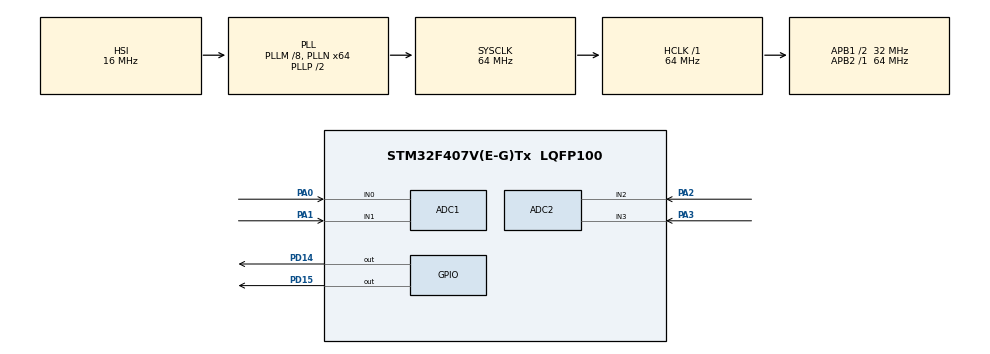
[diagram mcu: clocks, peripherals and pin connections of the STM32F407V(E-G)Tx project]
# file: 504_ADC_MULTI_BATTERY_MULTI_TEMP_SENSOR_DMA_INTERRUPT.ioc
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ADC1.Channel-0\#ChannelRegularConversion=ADC_CHANNEL_0
ADC1.Channel-1\#ChannelRegularConversion=ADC_CHANNEL_1
ADC1.Channel-2\#ChannelRegularConversion=ADC_CHANNEL_VREFINT
ADC1.ContinuousConvMode=ENABLE
ADC1.DMAContinuousRequests=ENABLE
ADC1.NbrOfConversion=3
ADC1.NbrOfConversionFlag=1
ADC1.Rank-0\#ChannelRegularConversion=1
ADC1.Rank-1\#ChannelRegularConversion=2
ADC1.Rank-2\#ChannelRegularConversion=3
ADC1.SamplingTime-0\#ChannelRegularConversion=ADC_SAMPLETIME_56CYCLES
ADC1.SamplingTime-1\#ChannelRegularConversion=ADC_SAMPLETIME_144CYCLES
ADC1.SamplingTime-2\#ChannelRegularConversion=ADC_SAMPLETIME_480CYCLES
ADC1.ScanConvMode=ENABLE
ADC1.master=1
ADC2.Channel-0\#ChannelRegularConversion=ADC_CHANNEL_2
ADC2.Channel-1\#ChannelRegularConversion=ADC_CHANNEL_3
ADC2.ContinuousConvMode=ENABLE
ADC2.DMAContinuousRequests=ENABLE
ADC2.NbrOfConversion=2
ADC2.NbrOfConversionFlag=1
ADC2.Rank-0\#ChannelRegularConversion=1
ADC2.Rank-1\#ChannelRegularConversion=2
ADC2.SamplingTime-0\#ChannelRegularConversion=ADC_SAMPLETIME_112CYCLES
ADC2.SamplingTime-1\#ChannelRegularConversion=ADC_SAMPLETIME_112CYCLES
ADC2.ScanConvMode=ENABLE
Dma.ADC1.0.Direction=DMA_PERIPH_TO_MEMORY
Dma.ADC1.0.FIFOMode=DMA_FIFOMODE_DISABLE
Dma.ADC1.0.Instance=DMA2_Stream0
Dma.ADC1.0.MemDataAlignment=DMA_MDATAALIGN_HALFWORD
Dma.ADC1.0.MemInc=DMA_MINC_ENABLE
Dma.ADC1.0.Mode=DMA_CIRCULAR
Dma.ADC1.0.PeriphDataAlignment=DMA_PDATAALIGN_HALFWORD
Dma.ADC1.0.PeriphInc=DMA_PINC_DISABLE
Dma.ADC1.0.Priority=DMA_PRIORITY_LOW
Dma.ADC2.1.Direction=DMA_PERIPH_TO_MEMORY
Dma.ADC2.1.FIFOMode=DMA_FIFOMODE_DISABLE
Dma.ADC2.1.Instance=DMA2_Stream2
Dma.ADC2.1.MemDataAlignment=DMA_MDATAALIGN_HALFWORD
Dma.ADC2.1.MemInc=DMA_MINC_ENABLE
Dma.ADC2.1.Mode=DMA_CIRCULAR
Dma.ADC2.1.PeriphDataAlignment=DMA_PDATAALIGN_HALFWORD
Dma.ADC2.1.PeriphInc=DMA_PINC_DISABLE
Dma.ADC2.1.Priority=DMA_PRIORITY_LOW
Dma.Request0=ADC1
Dma.Request1=ADC2
Mcu.Family=STM32F4
Mcu.Name=STM32F407V(E-G)Tx
Mcu.Package=LQFP100
NVIC.ADC_IRQn=true\:0\:0\:false\:false\:true\:true\:true\:true
NVIC.DMA2_Stream0_IRQn=true\:0\:0\:false\:false\:true\:false\:true\:true
NVIC.DMA2_Stream2_IRQn=true\:0\:0\:false\:false\:true\:false\:true\:true
NVIC.PriorityGroup=NVIC_PRIORITYGROUP_4
PA0-WKUP.Signal=ADCx_IN0
PA1.Signal=ADCx_IN1
PA2.Signal=ADCx_IN2
PA3.Signal=ADCx_IN3
PD14.Signal=GPIO_Output
PD15.Signal=GPIO_Output
ProjectManager.HeapSize=0x200
ProjectManager.StackSize=0x400
ProjectManager.TargetToolchain=STM32CubeIDE
RCC.48MHZClocksFreq_Value=32000000
RCC.AHBFreq_Value=64000000
RCC.APB1CLKDivider=RCC_HCLK_DIV2
RCC.APB1Freq_Value=32000000
RCC.APB1TimFreq_Value=64000000
RCC.APB2Freq_Value=64000000
RCC.APB2TimFreq_Value=64000000
RCC.CortexFreq_Value=64000000
RCC.HCLKFreq_Value=64000000
RCC.HSE_VALUE=25000000
RCC.HSI_VALUE=16000000
RCC.LSE_VALUE=32768
RCC.PLLM=8
RCC.PLLN=64
RCC.SYSCLKFreq_VALUE=64000000
RCC.SYSCLKSource=RCC_SYSCLKSOURCE_PLLCLK
RCC.VCOOutputFreq_Value=128000000
SH.ADCx_IN0.0=ADC1_IN0,IN0
SH.ADCx_IN1.0=ADC1_IN1,IN1
SH.ADCx_IN2.0=ADC2_IN2,IN2
SH.ADCx_IN3.0=ADC2_IN3,IN3
VP_ADC1_Vref_Input.Mode=IN-Vrefint
board=custom

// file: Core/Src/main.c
/* USER CODE BEGIN Header */
/**
  ******************************************************************************
  * @file           : main.c
  * @brief          : Main program body
  ******************************************************************************
  * @attention
  *
  * Copyright (c) 2024 STMicroelectronics.
  * All rights reserved.
  *
  * This software is licensed under terms that can be found in the LICENSE file
  * in the root directory of this software component.
  * If no LICENSE file comes with this software, it is provided AS-IS.
  *
  ******************************************************************************
  */
/* USER CODE END Header */
#include "main.h"

ADC_HandleTypeDef hadc1;
ADC_HandleTypeDef hadc2;
DMA_HandleTypeDef hdma_adc1;
DMA_HandleTypeDef hdma_adc2;

/* USER CODE BEGIN PV */
#define VREFIN_CAL ((uint16_t*)((uint32_t)0x1FFF7A2A))

uint16_t adc1_value [3];
uint16_t adc2_value [2];

float Vdda = 0, Vadc1_Temp1= 0, Vadc1_Temp2= 0, Vadc2_Bat1= 0, Vadc2_Bat2= 0;

int count= 0, count1= 0;
/* USER CODE END PV */

void SystemClock_Config(void);
static void MX_GPIO_Init(void);
static void MX_DMA_Init(void);
static void MX_ADC1_Init(void);
static void MX_ADC2_Init(void);

/* USER CODE BEGIN 0 */
void HAL_ADC_ConvCpltCallback(ADC_HandleTypeDef *hadc)
{
	if(__HAL_ADC_GET_FLAG(&hadc1, ADC_FLAG_EOC) != RESET )
		{
			adc1_value[count] = HAL_ADC_GetValue(&hadc1);
	        count++;
	        if(count == 3)
	        {
	        count = 0;
	        }

	        Vdda = (float) 3.3 * (*VREFIN_CAL)/adc1_value[2];

	        Vadc1_Temp1 = 330.0*adc1_value[0]/4095;
	        Vadc1_Temp2 = 330.0*adc1_value[1]/4095;

		}

	if(__HAL_ADC_GET_FLAG(&hadc2, ADC_FLAG_EOC) != RESET )
			{
				adc2_value[count1] = HAL_ADC_GetValue(&hadc2);
		        count1++;

		        if(count1 == 2)
		        {
		        	count1 = 0;
		        }
		        Vadc2_Bat1 = Vdda*adc2_value[0]/4095;
		        Vadc2_Bat2 = Vdda*adc2_value[1]/4095;

			}

}

/* USER CODE END 0 */

int main(void)
{

  /* MCU Configuration--------------------------------------------------------*/

  /* Reset of all peripherals, Initializes the Flash interface and the Systick. */
  HAL_Init();

  /* Configure the system clock */
  SystemClock_Config();

  /* Initialize all configured peripherals */
  MX_GPIO_Init();
  MX_DMA_Init();
  MX_ADC1_Init();
  MX_ADC2_Init();
  /* USER CODE BEGIN 2 */
  HAL_ADC_Start_DMA(&hadc1, (uint32_t *)adc1_value, 3);
  HAL_ADC_Start_DMA(&hadc2, (uint32_t *)adc2_value, 2);

  /* USER CODE END 2 */

  /* Infinite loop */
  while (1)
  {

    /* USER CODE BEGIN 3 */
	  if(Vadc1_Temp1>30)
	 			  {
	 				  HAL_GPIO_WritePin(GPIOD, GPIO_PIN_14, GPIO_PIN_SET);
	 			  }
	  else if(Vadc1_Temp1<30)
	  {
	  	 				  HAL_GPIO_WritePin(GPIOD, GPIO_PIN_14, GPIO_PIN_RESET);
	  	 			  }
  }
  /* USER CODE END 3 */
}

void SystemClock_Config(void)
{
  RCC_OscInitTypeDef RCC_OscInitStruct = {0};
  RCC_ClkInitTypeDef RCC_ClkInitStruct = {0};

  /** Configure the main internal regulator output voltage
  */
  __HAL_RCC_PWR_CLK_ENABLE();
  __HAL_PWR_VOLTAGESCALING_CONFIG(PWR_REGULATOR_VOLTAGE_SCALE1);

  /** Initializes the RCC Oscillators according to the specified parameters
  * in the RCC_OscInitTypeDef structure.
  */
  RCC_OscInitStruct.OscillatorType = RCC_OSCILLATORTYPE_HSI;
  RCC_OscInitStruct.HSIState = RCC_HSI_ON;
  RCC_OscInitStruct.HSICalibrationValue = RCC_HSICALIBRATION_DEFAULT;
  RCC_OscInitStruct.PLL.PLLState = RCC_PLL_ON;
  RCC_OscInitStruct.PLL.PLLSource = RCC_PLLSOURCE_HSI;
  RCC_OscInitStruct.PLL.PLLM = 8;
  RCC_OscInitStruct.PLL.PLLN = 64;
  RCC_OscInitStruct.PLL.PLLP = RCC_PLLP_DIV2;
  RCC_OscInitStruct.PLL.PLLQ = 4;
  if (HAL_RCC_OscConfig(&RCC_OscInitStruct) != HAL_OK)
  {
    Error_Handler();
  }

  /** Initializes the CPU, AHB and APB buses clocks
  */
  RCC_ClkInitStruct.ClockType = RCC_CLOCKTYPE_HCLK|RCC_CLOCKTYPE_SYSCLK
                              |RCC_CLOCKTYPE_PCLK1|RCC_CLOCKTYPE_PCLK2;
  RCC_ClkInitStruct.SYSCLKSource = RCC_SYSCLKSOURCE_PLLCLK;
  RCC_ClkInitStruct.AHBCLKDivider = RCC_SYSCLK_DIV1;
  RCC_ClkInitStruct.APB1CLKDivider = RCC_HCLK_DIV2;
  RCC_ClkInitStruct.APB2CLKDivider = RCC_HCLK_DIV1;

  if (HAL_RCC_ClockConfig(&RCC_ClkInitStruct, FLASH_LATENCY_2) != HAL_OK)
  {
    Error_Handler();
  }
}

static void MX_ADC1_Init(void)
{

  ADC_ChannelConfTypeDef sConfig = {0};

  /** Configure the global features of the ADC (Clock, Resolution, Data Alignment and number of conversion)
  */
  hadc1.Instance = ADC1;
  hadc1.Init.ClockPrescaler = ADC_CLOCK_SYNC_PCLK_DIV2;
  hadc1.Init.Resolution = ADC_RESOLUTION_12B;
  hadc1.Init.ScanConvMode = ENABLE;
  hadc1.Init.ContinuousConvMode = ENABLE;
  hadc1.Init.DiscontinuousConvMode = DISABLE;
  hadc1.Init.ExternalTrigConvEdge = ADC_EXTERNALTRIGCONVEDGE_NONE;
  hadc1.Init.ExternalTrigConv = ADC_SOFTWARE_START;
  hadc1.Init.DataAlign = ADC_DATAALIGN_RIGHT;
  hadc1.Init.NbrOfConversion = 3;
  hadc1.Init.DMAContinuousRequests = ENABLE;
  hadc1.Init.EOCSelection = ADC_EOC_SINGLE_CONV;
  if (HAL_ADC_Init(&hadc1) != HAL_OK)
  {
    Error_Handler();
  }

  /** Configure for the selected ADC regular channel its corresponding rank in the sequencer and its sample time.
  */
  sConfig.Channel = ADC_CHANNEL_0;
  sConfig.Rank = 1;
  sConfig.SamplingTime = ADC_SAMPLETIME_56CYCLES;
  if (HAL_ADC_ConfigChannel(&hadc1, &sConfig) != HAL_OK)
  {
    Error_Handler();
  }

  /** Configure for the selected ADC regular channel its corresponding rank in the sequencer and its sample time.
  */
  sConfig.Channel = ADC_CHANNEL_1;
  sConfig.Rank = 2;
  sConfig.SamplingTime = ADC_SAMPLETIME_144CYCLES;
  if (HAL_ADC_ConfigChannel(&hadc1, &sConfig) != HAL_OK)
  {
    Error_Handler();
  }

  /** Configure for the selected ADC regular channel its corresponding rank in the sequencer and its sample time.
  */
  sConfig.Channel = ADC_CHANNEL_VREFINT;
  sConfig.Rank = 3;
  sConfig.SamplingTime = ADC_SAMPLETIME_480CYCLES;
  if (HAL_ADC_ConfigChannel(&hadc1, &sConfig) != HAL_OK)
  {
    Error_Handler();
  }

}

static void MX_ADC2_Init(void)
{

  ADC_ChannelConfTypeDef sConfig = {0};

  /** Configure the global features of the ADC (Clock, Resolution, Data Alignment and number of conversion)
  */
  hadc2.Instance = ADC2;
  hadc2.Init.ClockPrescaler = ADC_CLOCK_SYNC_PCLK_DIV2;
  hadc2.Init.Resolution = ADC_RESOLUTION_12B;
  hadc2.Init.ScanConvMode = ENABLE;
  hadc2.Init.ContinuousConvMode = ENABLE;
  hadc2.Init.DiscontinuousConvMode = DISABLE;
  hadc2.Init.ExternalTrigConvEdge = ADC_EXTERNALTRIGCONVEDGE_NONE;
  hadc2.Init.ExternalTrigConv = ADC_SOFTWARE_START;
  hadc2.Init.DataAlign = ADC_DATAALIGN_RIGHT;
  hadc2.Init.NbrOfConversion = 2;
  hadc2.Init.DMAContinuousRequests = ENABLE;
  hadc2.Init.EOCSelection = ADC_EOC_SINGLE_CONV;
  if (HAL_ADC_Init(&hadc2) != HAL_OK)
  {
    Error_Handler();
  }

  /** Configure for the selected ADC regular channel its corresponding rank in the sequencer and its sample time.
  */
  sConfig.Channel = ADC_CHANNEL_2;
  sConfig.Rank = 1;
  sConfig.SamplingTime = ADC_SAMPLETIME_112CYCLES;
  if (HAL_ADC_ConfigChannel(&hadc2, &sConfig) != HAL_OK)
  {
    Error_Handler();
  }

  /** Configure for the selected ADC regular channel its corresponding rank in the sequencer and its sample time.
  */
  sConfig.Channel = ADC_CHANNEL_3;
  sConfig.Rank = 2;
  if (HAL_ADC_ConfigChannel(&hadc2, &sConfig) != HAL_OK)
  {
    Error_Handler();
  }

}

static void MX_DMA_Init(void)
{

  /* DMA controller clock enable */
  __HAL_RCC_DMA2_CLK_ENABLE();

  /* DMA interrupt init */
  /* DMA2_Stream0_IRQn interrupt configuration */
  HAL_NVIC_SetPriority(DMA2_Stream0_IRQn, 0, 0);
  HAL_NVIC_EnableIRQ(DMA2_Stream0_IRQn);
  /* DMA2_Stream2_IRQn interrupt configuration */
  HAL_NVIC_SetPriority(DMA2_Stream2_IRQn, 0, 0);
  HAL_NVIC_EnableIRQ(DMA2_Stream2_IRQn);

}

static void MX_GPIO_Init(void)
{
  GPIO_InitTypeDef GPIO_InitStruct = {0};

  /* GPIO Ports Clock Enable */
  __HAL_RCC_GPIOA_CLK_ENABLE();
  __HAL_RCC_GPIOD_CLK_ENABLE();

  /*Configure GPIO pin Output Level */
  HAL_GPIO_WritePin(GPIOD, GPIO_PIN_14|GPIO_PIN_15, GPIO_PIN_RESET);

  /*Configure GPIO pins : PD14 PD15 */
  GPIO_InitStruct.Pin = GPIO_PIN_14|GPIO_PIN_15;
  GPIO_InitStruct.Mode = GPIO_MODE_OUTPUT_PP;
  GPIO_InitStruct.Pull = GPIO_NOPULL;
  GPIO_InitStruct.Speed = GPIO_SPEED_FREQ_LOW;
  HAL_GPIO_Init(GPIOD, &GPIO_InitStruct);

}

void Error_Handler(void)
{
  __disable_irq();
  while (1)
  {
  }
}
